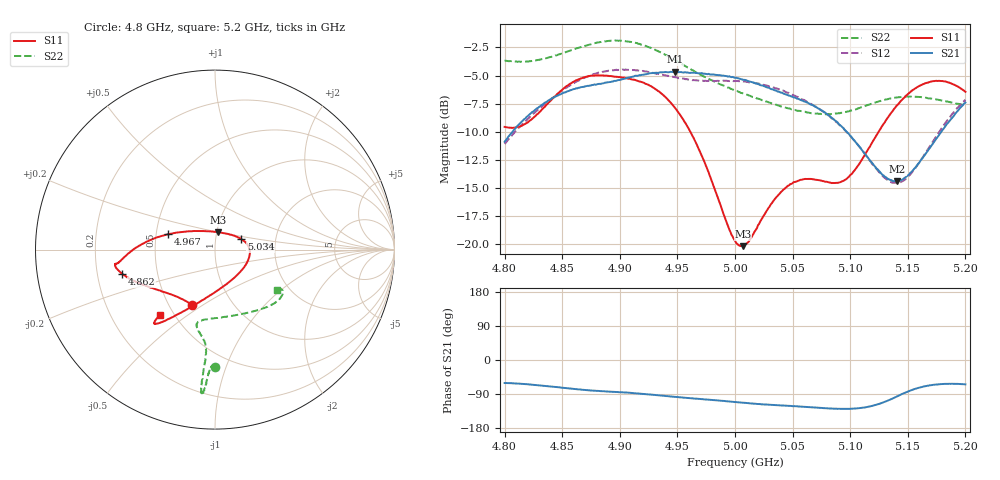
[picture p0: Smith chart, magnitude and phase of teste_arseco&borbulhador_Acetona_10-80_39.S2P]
! Network Analyzer HP8722D
! Hewlett-Packard
! Data name: Linha & Wilkinson
! Saver's name: Rodrigo Anjos
! Comments: Teste da utilização de aquisição
! continua pelo VNA HP8722D
! Time and date: 17/4/2025 14:41
!  Frequency  S11  S21  S12  S22
# HZ  S  MA R 50
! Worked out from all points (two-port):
!   401 points, 4.8 GHz to 5.2 GHz, reference 50 ohm
!   highest |S21| = -4.67 dB at 4.948 GHz (marker M1); lowest = -14.4 dB at 5.141 GHz (marker M2)
!   |S21| within 3 dB of the highest: 4.832 GHz to 5.068 GHz (236.8 MHz wide, 4.78 % of centre); 5.197443 GHz to end of sweep
!   lowest |S11| = -20.2 dB at 5.007 GHz (marker M3), VSWR 1.22, Z = 51 + j9.92 ohm
!   |S11| at or under -10 dB: 4.961 GHz to 5.125 GHz (163.4 MHz wide, 3.24 % of centre)
!   |S22| runs from -8.4 to -1.9 dB; largest |S21 - S12| = 0.88
!   S11 on the Smith chart (normalised r, x): 4.8 GHz: 0.65, -0.45; 4.862 GHz: 0.31, -0.12; 4.967 GHz: 0.58, +0.11; 5.034 GHz: 1.33, +0.16; 5.2 GHz: 0.42, -0.39
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4.8e9  0.3327 -113.1  0.2856 -60.8  0.2796 -174.9  0.6563 -89.9
4.819e9  0.3461 -132.9  0.368 -63.7  0.3558 -173.4  0.6502 -91.5
4.84e9  0.435 -152.4  0.441 -69.8  0.4414 -173.8  0.68 -92.7
4.862e9  0.5356 -165.4  0.494 -76.9  0.5269 -176.5  0.7424 -93.8
4.867e9  0.5474 -167.3  0.4998 -78.4  0.5414 -177.6  0.7553 -93.9
4.902e9  0.5509 -172.0  0.5415 -85.2  0.5981 175.3  0.8027 -95.3
4.934e9  0.4779 -177.9  0.5793 -93.3  0.5712 172.0  0.7181 -95.6
4.948e9  0.4039 175.3  0.5844 -97.3  0.5526 172.2  0.6584 -95.2
4.967e9  0.2768 162.0  0.5774 -102.1  0.5356 174.1  0.5781 -95.0
5e9  0.1039 102.9  0.5495 -111.1  0.533 176.2  0.4842 -99.1
5.007e9  0.09825 78.6  0.5387 -112.7  0.5292 176.4  0.4687 -100.7
5.013e9  0.1052 59.9  0.5287 -114.4  0.5245 176.2  0.4573 -102.0
5.034e9  0.1577 21.9  0.4847 -119.0  0.4973 175.0  0.4193 -103.6
5.05e9  0.187 5.6  0.4522 -121.9  0.4617 174.2  0.3986 -99.7
5.067e9  0.1949 -12.7  0.4175 -124.9  0.4178 173.7  0.3827 -90.9
5.086e9  0.1874 -42.5  0.3582 -128.4  0.3578 173.7  0.38 -76.7
5.097e9  0.1958 -65.3  0.316 -128.9  0.3149 174.6  0.3887 -67.5
5.134e9  0.3745 -115.9  0.1941 -105.5  0.1909 -158.3  0.444 -43.0
5.141e9  0.4166 -120.0  0.1908 -95.4  0.1879 -147.2  0.45 -39.9
5.153e9  0.4796 -124.8  0.2092 -79.7  0.207 -128.9  0.4535 -35.6
5.171e9  0.5298 -128.7  0.2771 -66.1  0.2824 -112.0  0.4437 -31.5
5.2e9  0.4763 -130.3  0.4267 -64.2  0.4387 -106.3  0.4148 -33.2
